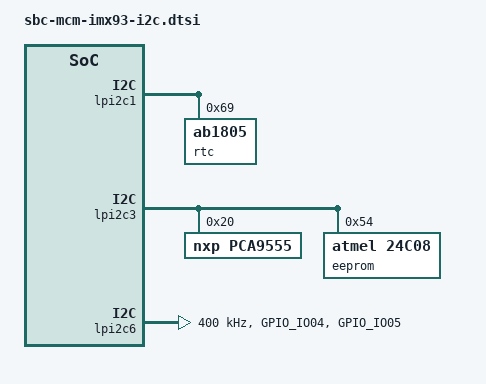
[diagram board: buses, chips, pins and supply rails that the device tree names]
// SPDX-License-Identifier: (GPL-2.0+ OR MIT)
/*
 * Copyright 2024 Compulab
 */

&lpi2c1 {
	rtc@69 {
		compatible = "ab1805";
		reg = <0x69>;
		pagesize = <16>;
		sqw = "32768_hz";
		xt-frequency = <32772300>;
		status = "okay";
	};
};

&lpi2c3 {
        pca9555:pca9555@20 {
                compatible = "nxp,pca9555";
                gpio-controller;
                #gpio-cells = <2>;
                reg = <0x20>;
        };

	eeprom@54 {
		compatible = "atmel,24c08";
		reg = <0x54>;
		pagesize = <16>;
	};
};

&iomuxc {
	pinctrl_lpi2c6: lpi2c6grp {
		fsl,pins = <
			MX93_PAD_GPIO_IO04__LPI2C6_SDA	0x40000b9e
			MX93_PAD_GPIO_IO05__LPI2C6_SCL	0x40000b9e
		>;
	};
};

&lpi2c6 {
	#address-cells = <1>;
	#size-cells = <0>;
	clock-frequency = <400000>;
	pinctrl-names = "default", "sleep";
	pinctrl-0 = <&pinctrl_lpi2c6>;
	pinctrl-1 = <&pinctrl_lpi2c6>;
	status = "okay";
}; 
